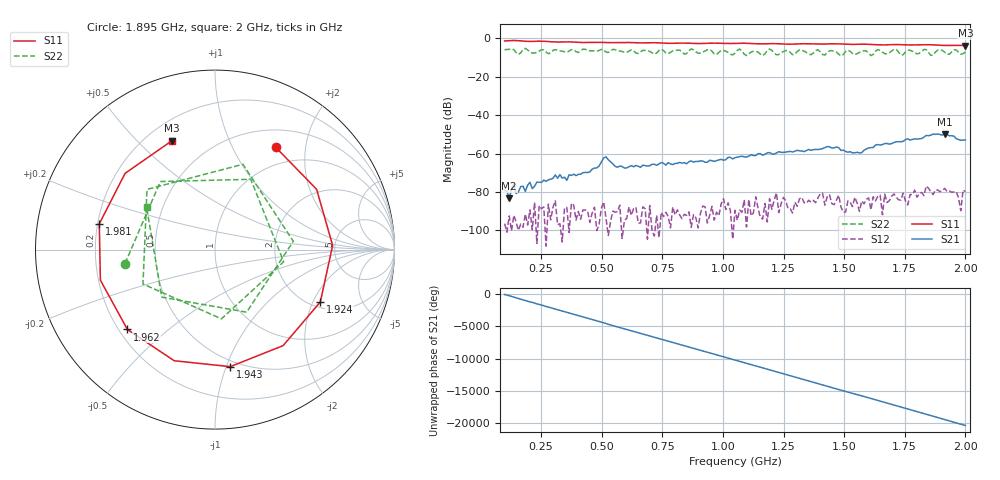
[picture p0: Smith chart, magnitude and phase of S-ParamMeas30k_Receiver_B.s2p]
!Keysight Technologies,N5242B,MY48420967,A.15.65.19
!Date: Saturday, February 04, 2023 03:56:42
!Correction: S11(C  1-Port  )
!S21(Off)
!S12(Off)
!S22(Off)
!S2P File: Measurements: S11, S21, S12, S22:
# Hz S  dB  R 50
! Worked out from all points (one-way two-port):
!   201 points, 100 MHz to 2 GHz, reference 50 ohm
!   highest |S21| = -49.77 dB at 1.915 GHz (marker M1); lowest = -83.3 dB at 119 MHz (marker M2)
!   lowest |S11| = -3.7 dB at 2 GHz (marker M3), VSWR 4.75, Z = 15.1 + j31.8 ohm
!   |S11| at or under -10 dB: nowhere
!   |S22| runs from -9.1 to -5.2 dB; largest |S21 - S12| = 0.0034
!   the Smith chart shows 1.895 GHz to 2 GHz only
!   S11 on the Smith chart (normalised r, x): 1.895 GHz: 0.73, +1.49; 1.924 GHz: 2.23, -2.28; 1.943 GHz: 0.45, -1.03; 1.962 GHz: 0.23, -0.37; 1.981 GHz: 0.21, +0.11; 2 GHz: 0.30, +0.64
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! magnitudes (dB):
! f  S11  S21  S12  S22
! 100 MHz  -1.3  -79.2  -96.5  -5.9
! 119 MHz  -1.2  -83.3  -92.5  -5.7
! 138 MHz  -1.1  -75.9  -92.2  -5.9
! 147.5 MHz  -1.1  -80.8  -95.8  -7.3
! 185.5 MHz  -1.5  -79.7  -91.5  -5.2
! 204.5 MHz  -1.5  -75.0  -89.3  -7.1
! 214 MHz  -1.5  -78.2  -99.7  -7.7
! 423 MHz  -2.1  -70.0  -89.4  -5.6
! 518 MHz  -2.1  -61.7  -93.6  -7.0
! 565.5 MHz  -2.2  -67.1  -90.3  -6.4
! 736.5 MHz  -2.3  -65.4  -103.9  -6.3
! 1.05 GHz  -2.6  -62.1  -89.6  -7.7
! 1.373 GHz  -2.9  -58.0  -84.4  -7.6
! 1.563 GHz  -3.0  -59.7  -90.1  -7.3
! 1.687 GHz  -3.2  -55.1  -84.5  -7.5
! 1.895 GHz  -3.6  -50.1  -79.9  -5.9
! 1.915 GHz  -3.7  -49.8  -78.1  -7.1
! 1.924 GHz  -3.7  -50.0  -79.7  -8.2
! 1.943 GHz  -3.6  -50.7  -80.1  -7.0
! 1.962 GHz  -3.6  -52.2  -79.8  -6.0
! 1.981 GHz  -3.6  -53.1  -89.8  -8.2
! 2 GHz  -3.7  -52.9  -79.9  -7.0
